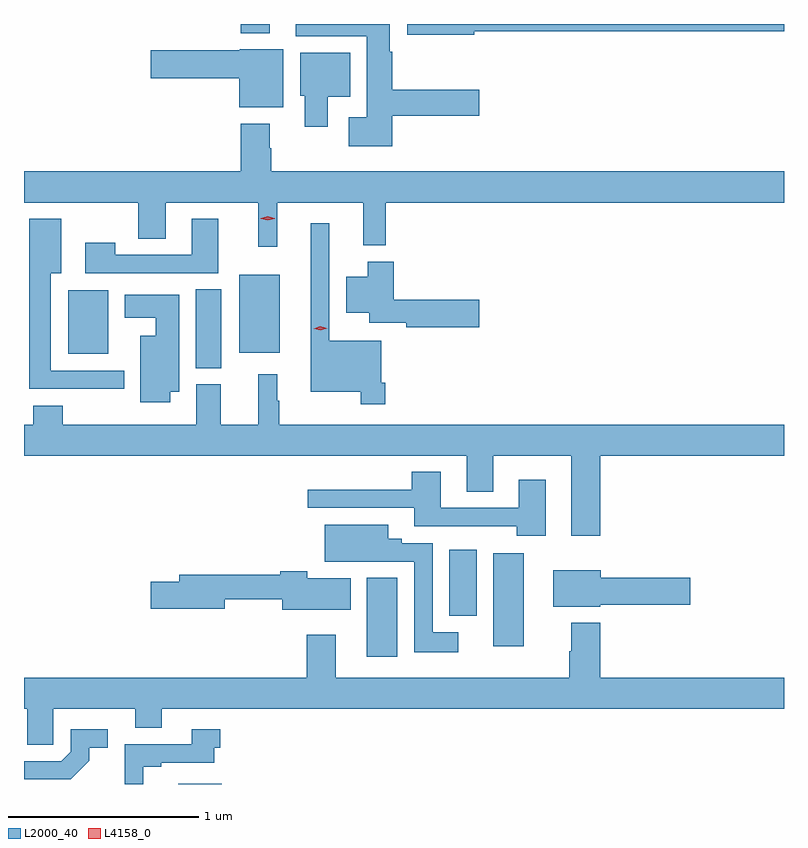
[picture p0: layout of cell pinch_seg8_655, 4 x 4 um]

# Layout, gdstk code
import gdstk
lib = gdstk.Library(unit=1e-6, precision=1e-09)
def R(c, l, rs):  # rectangles x0, y0, x1, y1
    for r in rs: c.add(gdstk.rectangle(r[:2], r[2:], *l))
def P(c, l, *ps):  # polygons
    for p in ps: c.add(gdstk.Polygon(p, *l))
L2000_40 = (2000, 40)
L4158_0 = (4158, 0)

pinch_seg8_655 = lib.new_cell('pinch_seg8_655')
R(pinch_seg8_655, L2000_40, [(250.061,1101.452,250.291,1101.454), (251.054,1102.122,251.215,1102.537), (251.72,1102.176,251.881,1102.666), (251.489,1102.337,251.632,1102.684), (250.154,1103.641,250.288,1104.056), (249.482,1103.717,249.694,1104.052), (250.382,1103.723,250.597,1104.133), (250.391,1105.403,250.543,1105.452)])
P(pinch_seg8_655, L2000_40, [(251.62,1105.414),(253.25,1105.414),(253.25,1105.452),(251.268,1105.452),(251.268,1105.396),(251.62,1105.396)],
  [(251.189,1104.97),(251.647,1104.97),(251.647,1105.107),(251.189,1105.107),(251.189,1105.307),(251.176,1105.307),(251.176,1105.452),(250.679,1105.452),(250.679,1105.388),(251.054,1105.388),(251.054,1104.961),(250.959,1104.961),(250.959,1104.809),(251.189,1104.809)],
  [(250.615,1105.318),(250.386,1105.318),(250.386,1105.313),(249.918,1105.313),(249.918,1105.166),(250.382,1105.166),(250.382,1105.013),(250.615,1105.013)],
  [(250.849,1105.07),(250.966,1105.07),(250.966,1105.3),(250.703,1105.3),(250.703,1105.074),(250.727,1105.074),(250.727,1104.912),(250.849,1104.912)],
  [(250.583,1104.512),(251.036,1104.512),(251.036,1104.287),(251.153,1104.287),(251.153,1104.512),(253.25,1104.512),(253.25,1104.676),(250.551,1104.676),(250.551,1104.797),(250.543,1104.797),(250.543,1104.928),(250.391,1104.928),(250.391,1104.676),(249.25,1104.676),(249.25,1104.512),(249.85,1104.512),(249.85,1104.322),(249.997,1104.322),(249.997,1104.512),(250.484,1104.512),(250.484,1104.279),(250.583,1104.279)],
  [(249.778,1103.628),(249.391,1103.628),(249.391,1104.14),(249.445,1104.14),(249.445,1104.427),(249.278,1104.427),(249.278,1103.531),(249.778,1103.531)],
  [(250.273,1104.427),(250.133,1104.427),(250.133,1104.237),(249.729,1104.237),(249.729,1104.301),(249.573,1104.301),(249.573,1104.141),(250.273,1104.141)],
  [(251.15,1103.563),(251.13,1103.563),(251.13,1103.785),(250.857,1103.785),(250.857,1104.403),(250.76,1104.403),(250.76,1103.516),(251.022,1103.516),(251.022,1103.451),(251.15,1103.451)],
  [(251.647,1104.002),(251.195,1104.002),(251.195,1104.202),(251.06,1104.202),(251.06,1104.121),(250.946,1104.121),(250.946,1103.933),(251.066,1103.933),(251.066,1103.879),(251.262,1103.879),(251.262,1103.855),(251.647,1103.855)],
  [(250.021,1103.516),(250.066,1103.516),(250.066,1104.028),(249.779,1104.028),(249.779,1103.906),(249.944,1103.906),(249.944,1103.812),(249.863,1103.812),(249.863,1103.46),(250.021,1103.46)],
  [(252.284,1103.18),(253.25,1103.18),(253.25,1103.344),(250.594,1103.344),(250.594,1103.468),(250.582,1103.468),(250.582,1103.608),(250.484,1103.608),(250.484,1103.344),(250.285,1103.344),(250.285,1103.556),(250.157,1103.556),(250.157,1103.344),(249.453,1103.344),(249.453,1103.443),(249.298,1103.443),(249.298,1103.344),(249.25,1103.344),(249.25,1103.18),(251.579,1103.18),(251.579,1102.99),(251.719,1102.99),(251.719,1103.18),(252.131,1103.18),(252.131,1102.758),(252.284,1102.758)],
  [(251.995,1103.053),(251.855,1103.053),(251.855,1102.905),(251.443,1102.905),(251.443,1103.095),(251.291,1103.095),(251.291,1103.002),(250.743,1103.002),(250.743,1102.905),(251.303,1102.905),(251.303,1102.809),(251.843,1102.809),(251.843,1102.758),(251.995,1102.758)],
  [(251.536,1102.252),(251.4,1102.252),(251.4,1102.719),(251.238,1102.719),(251.238,1102.744),(251.167,1102.744),(251.167,1102.816),(250.832,1102.816),(250.832,1102.622),(251.058,1102.622),(251.058,1102.623),(251.304,1102.623),(251.304,1102.145),(251.536,1102.145)],
  [(252.282,1102.396),(252.757,1102.396),(252.757,1102.538),(252.286,1102.538),(252.286,1102.576),(252.035,1102.576),(252.035,1102.385),(252.282,1102.385)],
  [(250.969,1102.534),(250.74,1102.534),(250.74,1102.572),(250.598,1102.572),(250.598,1102.553),(250.067,1102.553),(250.067,1102.517),(249.918,1102.517),(249.918,1102.375),(250.306,1102.375),(250.306,1102.425),(250.61,1102.425),(250.61,1102.37),(250.969,1102.37)],
  [(249.405,1101.848),(249.836,1101.848),(249.836,1101.749),(249.976,1101.749),(249.976,1101.848),(253.25,1101.848),(253.25,1102.012),(252.284,1102.012),(252.284,1102.3),(252.131,1102.3),(252.131,1102.151),(252.119,1102.151),(252.119,1102.012),(250.891,1102.012),(250.891,1102.237),(250.739,1102.237),(250.739,1102.012),(249.25,1102.012),(249.25,1101.848),(249.266,1101.848),(249.266,1101.658),(249.405,1101.658)],
  [(249.878,1101.544),(249.973,1101.544),(249.973,1101.564),(250.25,1101.564),(250.25,1101.644),(250.282,1101.644),(250.282,1101.741),(250.133,1101.741),(250.133,1101.66),(249.779,1101.66),(249.779,1101.452),(249.878,1101.452)],
  [(249.593,1101.575),(249.593,1101.643),(249.691,1101.643),(249.691,1101.741),(249.495,1101.741),(249.495,1101.621),(249.447,1101.573),(249.25,1101.573),(249.25,1101.477),(249.495,1101.477)])
P(pinch_seg8_655, L4158_0, [(250.811,1103.84),(250.775,1103.849),(250.775,1103.849),(250.775,1103.849),(250.81,1103.86),(250.846,1103.852),(250.846,1103.852),(250.846,1103.851)],
  [(250.533,1104.419),(250.497,1104.428),(250.497,1104.429),(250.497,1104.429),(250.533,1104.439),(250.569,1104.429),(250.569,1104.429),(250.569,1104.428)])

lib.write_gds('pinch_seg8_655.gds')
